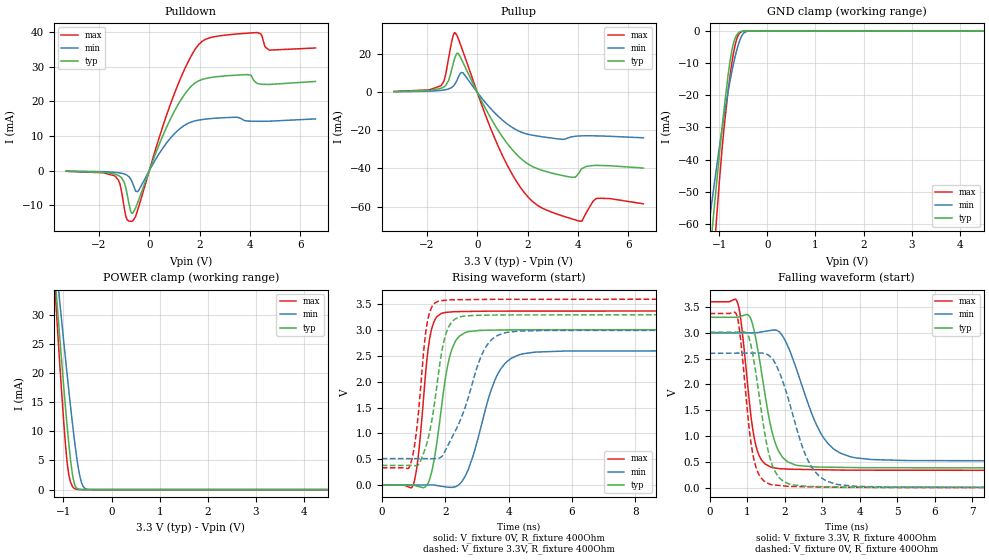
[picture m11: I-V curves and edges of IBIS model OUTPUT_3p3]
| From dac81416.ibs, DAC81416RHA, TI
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|   OUTPUT_3p3 Model
[Model]   OUTPUT_3p3
Model_type   3-state
Polarity   Non-Inverting
Vmeas = 1.65
Vref = 0
Cref = 2pF
Rref = 100000
|   typ   min   max
C_comp   2.990E-12   2.882E-12   2.990E-12
|  Where Nom  PVT is Nominal Process, 3.3V,   25C
|   Fast PVT is Strong Process,  3.6V,  -40C
|   Slow PVT is Weak Process,   3.0V,  125C
[Voltage Range]   3.3   3   3.6
|Junction Temperature
[Temperature Range]   25   125   -40
[Pullup Reference]   3.3   3   3.6
[Pulldown Reference]   -0   0   0
[Power Clamp Reference]   3.3   3   3.6
[GND Clamp Reference]   0   0   0
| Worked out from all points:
|   slope of the pulldown table from 0 to 0.495 V, typ, clamps not added: 53.1 ohm
|   slope of the pullup table from 0 to 0.495 V, typ, clamps not added: 39.4 ohm
|   GND clamp passes 1 mA (typ) near -0.62 V on its own axis
|   POWER clamp passes 1 mA (typ) near -0.77 V on its own axis
|   falling waveform, V_fixture 3.3V, R_fixture 400Ohm: 20-80 % time 435ps typ, 787ps min, 303ps max; typ from 3.3 V to 0.38 V
|   rising waveform, V_fixture 0V, R_fixture 400Ohm: 20-80 % time 430ps typ, 749ps min, 305ps max; typ from 0 V to 3.01 V
|   rising waveform, V_fixture 3.3V, R_fixture 400Ohm: 20-80 % time 449ps typ, 854ps min, 301ps max; typ from 0.38 V to 3.3 V
|   falling waveform, V_fixture 0V, R_fixture 400Ohm: 20-80 % time 407ps typ, 692ps min, 297ps max; typ from 3.01 V to 0 V
[Pulldown]
|   Voltage   I(typ)   I(min)   I(max)
-3.3V     -212uA     -148.8uA   -223.7uA
-1.34V    -1.093mA   -539.9uA   -1.766mA
-1.162V   -1.729mA   -710.8uA   -4.068mA
-884.4mV  -6.714mA   -1.37mA    -14.19mA
-656.7mV  -12.26mA   -3.755mA   -14.55mA
-448.8mV  -8.971mA   -5.966mA   -11.05mA
986.7mV   16.98mA    10.54mA    22.03mA
2.086V    26.24mA    14.7mA     37.21mA
3.897V    27.69mA    14.28mA    39.63mA
4.283V    25.12mA    14.21mA    39.8mA
4.769V    24.84mA    14.24mA    34.74mA
6.6V      25.7mA     14.9mA     35.36mA
[GND Clamp]
|   Voltage   I(typ)   I(min)   I(max)
-3.3V     -461mA     -355.5mA   -554.1mA
-1.211V   -72.36mA   -59.78mA   -90.08mA
-1.122V   -57.74mA   -49.58mA   -71.47mA
-1.112V   -56.14mA   -48.47mA   -69.43mA
-1.003V   -39.16mA   -36.72mA   -47.82mA
-904.2mV  -24.86mA   -26.83mA   -30.6mA
-775.5mV  -9.373mA   -15.5mA    -13.96mA
-666.6mV  -2.193mA   -7.768mA   -4.198mA
-557.7mV  -267.4uA   -2.378mA   -472.5uA
-478.5mV  -37.84uA   -552.2uA   -58.08uA
-260.7mV  0A         -2.453uA   0A
6.6V      0A         0A         0A
[Pullup]
|   Voltage   I(typ)   I(min)   I(max)
-3.3V     404.1uA    279.1uA    475.6uA
-1.439V   2.12mA     1.029mA    3.576mA
-1.142V   6.123mA    1.793mA    17.71mA
-894.3mV  18.05mA    4.169mA    31.42mA
-755.7mV  20.51mA    7.845mA    28.32mA
-577.5mV  16.01mA    10.34mA    21.83mA
848.1mV   -20.35mA   -12.77mA   -28.81mA
2.185V    -38.9mA    -22.5mA    -57.21mA
3.759V    -44.65mA   -23.37mA   -66.49mA
4.125V    -40.52mA   -22.86mA   -67.77mA
4.749V    -38.39mA   -22.88mA   -55.73mA
6.6V      -39.8mA    -23.88mA   -58.58mA
[POWER Clamp]
|   Voltage   I(typ)   I(min)   I(max)
-3.3V     276.8mA    229.6mA    337.2mA
-1.201V   39.27mA    42.74mA    37.93mA
-1.152V   33.97mA    38.54mA    31.31mA
-1.082V   26.67mA    32.71mA    22.28mA
-993.3mV  17.6mA     25.36mA    11.48mA
-924mV    11mA       19.79mA    4.744mA
-884.4mV  7.567mA    16.71mA    2.357mA
-815.1mV  2.752mA    11.53mA    569.3uA
-755.7mV  656.9uA    7.476mA    135.7uA
-636.9mV  13.78uA    1.574mA    6.806uA
-498.3mV  138.3nA    46.42uA    49.55nA
6.6V      0A         0A         0A
[Ramp]
R_load = 400
|   typ   min   max
dV/dt_r   1.8073/4.29776e-10   1.56155/7.49107e-10   2.02363/3.05299e-10
dV/dt_f   1.75223/4.33837e-10   1.49189/7.85653e-10   1.95938/3.02753e-10
[Falling Waveform]
V_fixture = 3.3V
V_fixture_min = 3V
V_fixture_max = 3.6V
R_fixture = 400Ohm
C_fixture = 0F
|   Time   V(typ)   V(min)   V(max)
0s        3.3V       3V         3.6V
739ps     3.3V       3V         3.593V
849.5ps   3.324V     3V         3.144V
1.033ns   3.344V     3V         1.852V
1.2ns     2.993V     3V         925.9mV
1.62ns    1.223V     3.045V     405mV
2.08ns    504.7mV    2.749V     362.6mV
2.953ns   402.1mV    1.069V     350.9mV
3.75ns    394mV      602.3mV    342.7mV
14.29ns   379.6mV    513.4mV    334.4mV
[Rising Waveform]
V_fixture = 0V
V_fixture_min = 0V
V_fixture_max = 0V
R_fixture = 400Ohm
C_fixture = 0F
|   Time   V(typ)   V(min)   V(max)
0s        97.34uV    650.2uV    3.722uV
991.9ps   -813.5uV   973uV      1.391mV
1.171ns   -29.67mV   1.031mV    665.8mV
1.504ns   104.5mV    1.14mV     2.807V
1.872ns   1.443V     -22.19mV   3.32V
2.128ns   2.447V     -42.73mV   3.349V
2.449ns   2.883V     15.96mV    3.359V
3.573ns   3.001V     2.039V     3.368V
4.323ns   3.005V     2.52V      3.368V
14.29ns   3.012V     2.603V     3.373V
[Rising Waveform]
V_fixture = 3.3V
V_fixture_min = 3V
V_fixture_max = 3.6V
R_fixture = 400Ohm
C_fixture = 0F
|   Time   V(typ)   V(min)   V(max)
0s        379.6mV    513.4mV    334.4mV
901.2ps   380.6mV    512.2mV    400.2mV
1.091ns   373.3mV    512mV      1.018V
1.421ns   802.1mV    511.6mV    3.096V
1.783ns   2.126V     517mV      3.558V
1.994ns   2.866V     653.1mV    3.577V
2.234ns   3.174V     943.6mV    3.587V
3.207ns   3.289V     2.591V     3.594V
3.819ns   3.293V     2.937V     3.596V
14.29ns   3.3V       3V         3.6V
[Falling Waveform]
|Gnd
V_fixture = 0V
V_fixture_min = 0V
V_fixture_max = 0V
R_fixture = 400Ohm
C_fixture = 0F
|   Time   V(typ)   V(min)   V(max)
0s        3.012V     2.603V     3.373V
725ps     3.012V     2.606V     3.338V
831.1ps   3.022V     2.607V     2.829V
1.021ns   2.959V     2.608V     1.378V
1.229ns   2.239V     2.608V     415.6mV
1.591ns   626.3mV    2.553V     73.91mV
1.967ns   123.9mV    2.024V     38.38mV
2.67ns    26.35mV    464.7mV    20.54mV
3.336ns   18.54mV    77.45mV    12.78mV
14.29ns   98.26uV    667uV      4.127uV
